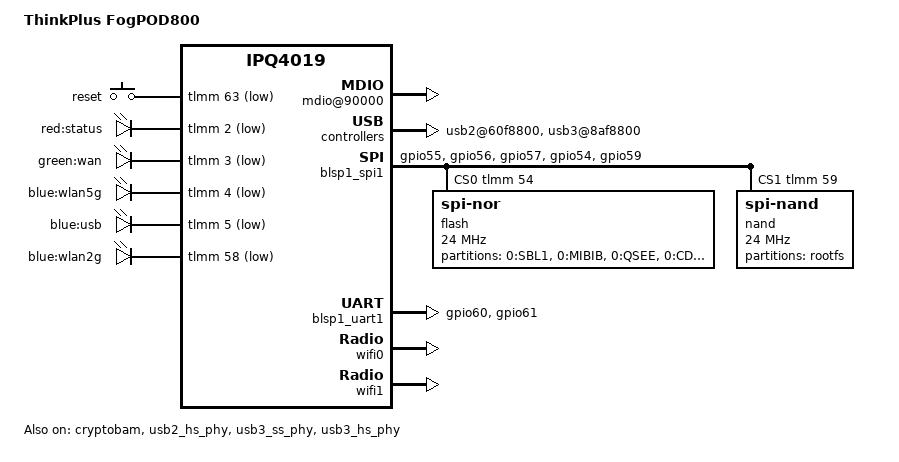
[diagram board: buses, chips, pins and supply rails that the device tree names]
// SPDX-License-Identifier: GPL-2.0-or-later OR MIT

#include "qcom-ipq4019.dtsi"
#include <dt-bindings/gpio/gpio.h>
#include <dt-bindings/input/input.h>
#include <dt-bindings/soc/qcom,tcsr.h>

/ {
	model = "ThinkPlus FogPOD800";
	compatible = "thinkplus,fogpod800";

	aliases {
		led-boot = &led_power;
		led-failsafe = &led_power;
		led-running = &led_power;
		led-upgrade = &led_power;
	};

	chosen {
		bootargs-append = " ubi.mtd=rootfs root=/dev/ubiblock0_1";
	};

	soc {
		rng@22000 {
			status = "okay";
		};

		mdio@90000 {
			status = "okay";
		};

		ess-psgmii@98000 {
			status = "okay";
		};

		tcsr@1949000 {
			compatible = "qcom,tcsr";
			reg = <0x1949000 0x100>;
			qcom,wifi_glb_cfg = <TCSR_WIFI_GLB_CFG>;
		};

		tcsr@194b000 {
			compatible = "qcom,tcsr";
			reg = <0x194b000 0x100>;
			qcom,usb-hsphy-mode-select = <TCSR_USB_HSPHY_HOST_MODE>;
		};

		ess_tcsr@1953000 {
			compatible = "qcom,tcsr";
			reg = <0x1953000 0x1000>;
			qcom,ess-interface-select = <TCSR_ESS_PSGMII>;
		};

		tcsr@1957000 {
			compatible = "qcom,tcsr";
			reg = <0x1957000 0x100>;
			qcom,wifi_noc_memtype_m0_m2 = <TCSR_WIFI_NOC_MEMTYPE_M0_M2>;
		};

		usb2@60f8800 {
			status = "okay";

			dwc3@6000000 {
				#address-cells = <1>;
				#size-cells = <0>;

				usb2_port1: port@1 {
					reg = <1>;
					#trigger-source-cells = <0>;
				};
			};
		};

		usb3@8af8800 {
			status = "okay";

			dwc3@8a00000 {
				#address-cells = <1>;
				#size-cells = <0>;

				usb3_port1: port@1 {
					reg = <1>;
					#trigger-source-cells = <0>;
				};

				usb3_port2: port@2 {
					reg = <2>;
					#trigger-source-cells = <0>;
				};
			};
		};

		crypto@8e3a000 {
			status = "okay";
		};

		watchdog@b017000 {
			status = "okay";
		};

		ess-switch@c000000 {
			status = "okay";
		};

		edma@c080000 {
			status = "okay";
		};
	};

	keys {
		compatible = "gpio-keys";

		reset {
			label = "reset";
			gpios = <&tlmm 63 GPIO_ACTIVE_LOW>;
			linux,code = <KEY_RESTART>;
		};
	};

	leds {
		compatible = "gpio-leds";

		led_power: status {
			label = "red:status";
			gpios = <&tlmm 2 GPIO_ACTIVE_LOW>;
		};

		wan {
			label = "green:wan";
			gpios = <&tlmm 3 GPIO_ACTIVE_LOW>;
			linux,default-trigger = "90000.mdio-1:04:link";
		};

		wlan5g {
			label = "blue:wlan5g";
			gpios = <&tlmm 4 GPIO_ACTIVE_LOW>;
			linux,default-trigger = "phy1tpt";
		};

		usb {
			label = "blue:usb";
			gpios = <&tlmm 5 GPIO_ACTIVE_LOW>;
			linux,default-trigger = "usbport";
			trigger-sources = <&usb2_port1>, <&usb3_port1>, <&usb3_port2>;
		};

		wlan2g {
			label = "blue:wlan2g";
			gpios = <&tlmm 58 GPIO_ACTIVE_LOW>;
			linux,default-trigger = "phy0tpt";
		};
	};
};

&cryptobam {
	status = "okay";
};

&blsp_dma {
	status = "okay";
};

&tlmm {
	serial0_pins: serial0_pinmux {
		mux {
			pins = "gpio60", "gpio61";
			function = "blsp_uart0";
			bias-disable;
		};
	};

	spi0_pins: spi0_pinmux {
		mux {
			function = "blsp_spi0";
			pins = "gpio55", "gpio56", "gpio57";
			drive-strength = <12>;
			bias-disable;
		};

		mux_cs {
			function = "gpio";
			pins = "gpio54", "gpio59";
			drive-strength = <2>;
			bias-disable;
			output-high;
		};
	};
};

&blsp1_spi1 {
	status = "okay";

	pinctrl-0 = <&spi0_pins>;
	pinctrl-names = "default";
	cs-gpios = <&tlmm 54 GPIO_ACTIVE_HIGH>, <&tlmm 59 GPIO_ACTIVE_HIGH>;

	flash@0 {
		compatible = "jedec,spi-nor";
		reg = <0>;
		spi-max-frequency = <24000000>;

		partitions {
			compatible = "fixed-partitions";
			#address-cells = <1>;
			#size-cells = <1>;

			partition@0 {
				label = "0:SBL1";
				reg = <0x0 0x40000>;
				read-only;
			};

			partition@40000 {
				label = "0:MIBIB";
				reg = <0x40000 0x20000>;
				read-only;
			};

			partition@60000 {
				label = "0:QSEE";
				reg = <0x60000 0x60000>;
				read-only;
			};

			partition@c0000 {
				label = "0:CDT";
				reg = <0xc0000 0x10000>;
				read-only;
			};

			partition@d0000 {
				label = "0:DDRPARAMS";
				reg = <0xd0000 0x10000>;
				read-only;
			};

			partition@e0000 {
				label = "0:APPSBLENV";
				reg = <0xe0000 0x10000>;
			};

			partition@f0000 {
				label = "0:APPSBL";
				reg = <0xf0000 0x80000>;
				read-only;
			};

			partition@170000 {
				label = "0:ART";
				reg = <0x170000 0x10000>;
				read-only;
				compatible = "nvmem-cells";
				#address-cells = <1>;
				#size-cells = <1>;

				precal_art_1000: precal@1000 {
					reg = <0x1000 0x2f20>;
				};

				precal_art_5000: precal@5000 {
					reg = <0x5000 0x2f20>;
				};
			};
		};
	};

	nand@1 {
		compatible = "spi-nand";
		reg = <1>;
		spi-max-frequency = <24000000>;

		partitions {
			compatible = "fixed-partitions";
			#address-cells = <1>;
			#size-cells = <1>;

			partition@0 {
				label = "rootfs";
				reg = <0x0 0x8000000>;
			};
		};
	};
};

&blsp1_uart1 {
	pinctrl-0 = <&serial0_pins>;
	pinctrl-names = "default";
	status = "okay";
};

&usb2_hs_phy {
	status = "okay";
};

&usb3_ss_phy {
	status = "okay";
};

&usb3_hs_phy {
	status = "okay";
};

&wifi0 {
	status = "okay";
	nvmem-cell-names = "pre-calibration";
	nvmem-cells = <&precal_art_1000>;
	qcom,ath10k-calibration-variant = "ThinkPlus FogPOD800";
};

&wifi1 {
	status = "okay";
	nvmem-cell-names = "pre-calibration";
	nvmem-cells = <&precal_art_5000>;
	qcom,ath10k-calibration-variant = "ThinkPlus FogPOD800";
};
